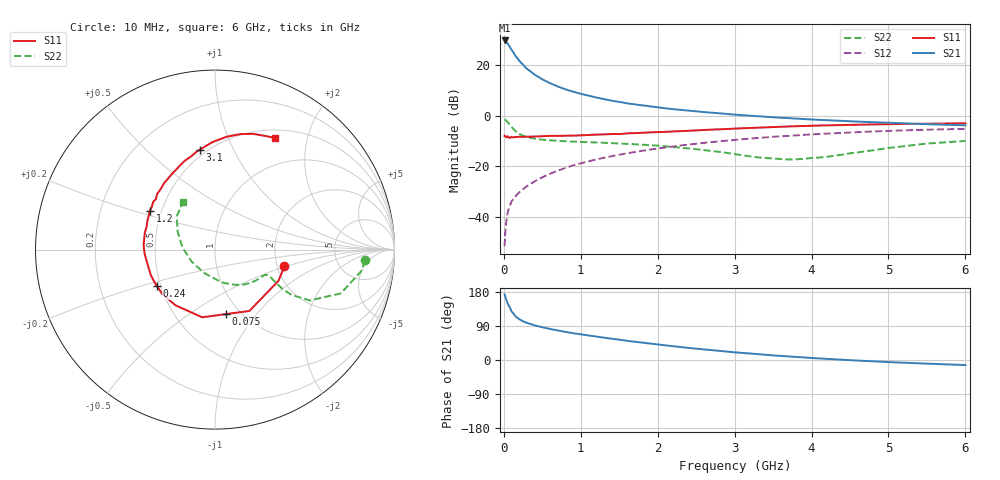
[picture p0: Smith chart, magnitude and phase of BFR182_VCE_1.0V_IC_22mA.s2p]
! Infineon Technologies  Discrete & RF Semiconductors
! BFR182
! VCE =  1.0 V,  IC =  22 mA
! Common Emitter S-Parameters:  Nov 2015
# GHz  S  MA  R  50
!  f  S11  S21  S12  S22
! GHz  MAG  ANG  MAG  ANG  MAG  ANG  MAG  ANG
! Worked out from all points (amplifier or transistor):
!   210 points, 10 MHz to 6 GHz, reference 50 ohm
!   highest |S21| = 29.6 dB at 10 MHz (marker M1)
!   |S21| within 3 dB of that: start of sweep to 86.11 MHz
!   unconditionally stable (mu >= 1): start of sweep to 17.19 MHz; 227.2 MHz to end of sweep
!   at 185 MHz: K = 0.93, MSG = 26.4 dB, |S12| = -30.7 dB
!   at 1.52 GHz: K = 1.22, MAG = 7.4 dB, |S12| = -15.3 dB
!   at 6 GHz: K = 1.04, MAG = -0.5 dB, |S12| = -5.2 dB
!   S11 on the Smith chart (normalised r, x): 10 MHz: 2.19, -0.49; 75 MHz: 0.86, -0.71; 240 MHz: 0.48, -0.23; 1.2 GHz: 0.43, +0.23; 3.1 GHz: 0.46, +0.75; 6 GHz: 0.60, +1.49
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0.01  0.398 -13.6  30.04 173.1  0.0027 81.9  0.8387 -4.1
0.02  0.394 -26.2  29.44 166.1  0.0054 80.3  0.8229 -8.5
0.05  0.392 -60.7  26.23 148.5  0.0125 70.3  0.7424 -19.2
0.075  0.3645 -80.5  22.65 139.8  0.0164 67.0  0.6688 -23.2
0.1  0.3838 -100.7  19.77 128.2  0.0204 65.0  0.5993 -28.2
0.15  0.3803 -125.2  14.98 115.3  0.0258 62.4  0.4961 -30.6
0.2  0.3842 -139.7  11.99 107.6  0.0308 63.5  0.4375 -30.3
0.24  0.3821 -147.9  10.26 103.2  0.0349 64.4  0.4095 -29.4
0.3  0.3851 -158.1  8.319 97.6  0.0408 66.4  0.3789 -28.2
0.4  0.3861 -169.7  6.38 91.4  0.0507 68.3  0.3501 -26.6
0.5  0.3928 -176.5  5.159 86.2  0.0611 69.9  0.3344 -25.8
0.6  0.3987 176.4  4.337 81.9  0.0715 70.3  0.3258 -25.8
0.7  0.3993 171.0  3.742 77.8  0.0823 70.6  0.3184 -26.4
0.8  0.4023 166.2  3.286 74.2  0.0932 70.0  0.3124 -27.0
1.02  0.4103 156.2  2.639 67.1  0.1174 69.4  0.3026 -29.7
1.2  0.4227 149.1  2.273 61.7  0.137 68.2  0.2954 -32.4
1.6  0.4477 136.1  1.743 50.6  0.1808 64.4  0.2786 -39.9
2.02  0.4732 123.8  1.439 40.6  0.2273 60.0  0.2552 -49.4
3.1  0.5628 98.7  1.019 18.7  0.3428 46.3  0.1658 -88.2
4.1  0.6377 82.6  0.824 4.2  0.435 32.9  0.1495 -159.9
5.1  0.681 70.7  0.713 -6.4  0.5066 19.4  0.2395 150.8
6  0.7049 61.9  0.643 -13.4  0.5473 7.2  0.3182 124.4
